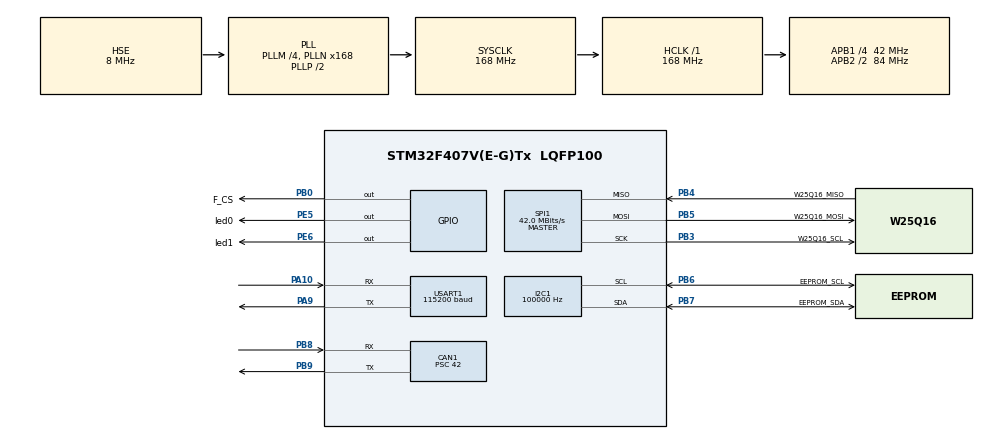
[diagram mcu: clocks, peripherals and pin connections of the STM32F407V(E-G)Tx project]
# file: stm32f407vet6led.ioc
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CAN1.ABOM=ENABLE
CAN1.AWUM=ENABLE
CAN1.BS1=CAN_BS1_2TQ
CAN1.BS2=CAN_BS2_2TQ
CAN1.CalculateBaudRate=200000
CAN1.CalculateTimeBit=5000
CAN1.CalculateTimeQuantum=1000.0
CAN1.Prescaler=42
I2C1.ClockSpeed=100000
I2C1.I2C_Mode=I2C_Standard
Mcu.Family=STM32F4
Mcu.Name=STM32F407V(E-G)Tx
Mcu.Package=LQFP100
NVIC.PriorityGroup=NVIC_PRIORITYGROUP_4
NVIC.USART1_IRQn=true\:5\:0\:true\:false\:true\:true\:true\:true
PA10.Mode=Asynchronous
PA10.Signal=USART1_RX
PA13.Mode=Serial_Wire
PA13.Signal=SYS_JTMS-SWDIO
PA14.Mode=Serial_Wire
PA14.Signal=SYS_JTCK-SWCLK
PA9.Mode=Asynchronous
PA9.Signal=USART1_TX
PB0.GPIO_Label=F_CS
PB0.GPIO_Speed=GPIO_SPEED_FREQ_VERY_HIGH
PB0.PinState=GPIO_PIN_SET
PB0.Signal=GPIO_Output
PB3.GPIO_Label=W25Q16_SCL
PB3.Mode=Full_Duplex_Master
PB3.Signal=SPI1_SCK
PB4.GPIO_Label=W25Q16_MISO
PB4.Mode=Full_Duplex_Master
PB4.Signal=SPI1_MISO
PB5.GPIO_Label=W25Q16_MOSI
PB5.Mode=Full_Duplex_Master
PB5.Signal=SPI1_MOSI
PB6.GPIO_Label=EEPROM_SCL
PB6.Mode=I2C
PB6.Signal=I2C1_SCL
PB7.GPIO_Label=EEPROM_SDA
PB7.Mode=I2C
PB7.Signal=I2C1_SDA
PB8.Mode=CAN_Activate
PB8.Signal=CAN1_RX
PB9.Mode=CAN_Activate
PB9.Signal=CAN1_TX
PC14-OSC32_IN.Mode=LSE-External-Oscillator
PC14-OSC32_IN.Signal=RCC_OSC32_IN
PC15-OSC32_OUT.Mode=LSE-External-Oscillator
PC15-OSC32_OUT.Signal=RCC_OSC32_OUT
PE5.GPIO_Label=led0
PE5.GPIO_PuPd=GPIO_PULLUP
PE5.PinState=GPIO_PIN_SET
PE5.Signal=GPIO_Output
PE6.GPIO_Label=led1
PE6.GPIO_PuPd=GPIO_PULLUP
PE6.PinState=GPIO_PIN_SET
PE6.Signal=GPIO_Output
PH0-OSC_IN.Mode=HSE-External-Oscillator
PH0-OSC_IN.Signal=RCC_OSC_IN
PH1-OSC_OUT.Mode=HSE-External-Oscillator
PH1-OSC_OUT.Signal=RCC_OSC_OUT
ProjectManager.HeapSize=0x200
ProjectManager.StackSize=0x400
ProjectManager.TargetToolchain=MDK-ARM V5.32
RCC.48MHZClocksFreq_Value=84000000
RCC.AHBFreq_Value=168000000
RCC.APB1CLKDivider=RCC_HCLK_DIV4
RCC.APB1Freq_Value=42000000
RCC.APB1TimFreq_Value=84000000
RCC.APB2CLKDivider=RCC_HCLK_DIV2
RCC.APB2Freq_Value=84000000
RCC.APB2TimFreq_Value=168000000
RCC.CortexFreq_Value=168000000
RCC.HCLKFreq_Value=168000000
RCC.HSE_VALUE=8000000
RCC.HSI_VALUE=16000000
RCC.PLLM=4
RCC.PLLN=168
RCC.PLLSourceVirtual=RCC_PLLSOURCE_HSE
RCC.SYSCLKFreq_VALUE=168000000
RCC.SYSCLKSource=RCC_SYSCLKSOURCE_PLLCLK
RCC.VCOOutputFreq_Value=336000000
SPI1.CalculateBaudRate=42.0 MBits/s
SPI1.Direction=SPI_DIRECTION_2LINES
SPI1.Mode=SPI_MODE_MASTER
SPI1.VirtualType=VM_MASTER
USART1.BaudRate=115200
USART1.VirtualMode=VM_ASYNC
VP_CRC_VS_CRC.Mode=CRC_Activate
board=custom

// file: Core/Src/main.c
/* USER CODE BEGIN Header */
/**
  ******************************************************************************
  * @file           : main.c
  * @brief          : Main program body
  ******************************************************************************
  * @attention
  *
  * Copyright (c) 2026 STMicroelectronics.
  * All rights reserved.
  *
  * This software is licensed under terms that can be found in the LICENSE file
  * in the root directory of this software component.
  * If no LICENSE file comes with this software, it is provided AS-IS.
  *
  ******************************************************************************
  */
/* USER CODE END Header */
#include "main.h"
#include "can.h"
#include "crc.h"
#include "i2c.h"
#include "spi.h"
#include "usart.h"
#include "gpio.h"

/* USER CODE BEGIN Includes */
#include "int_can.h"
#include "app_update.h"
/* USER CODE END Includes */

/* USER CODE BEGIN PD */
/* LED 硬件为低电平点亮：引脚输出 0 亮，输出 1 灭 */
#define LED0_ON()   HAL_GPIO_WritePin(led0_GPIO_Port, led0_Pin, GPIO_PIN_RESET)
#define LED0_OFF()  HAL_GPIO_WritePin(led0_GPIO_Port, led0_Pin, GPIO_PIN_SET)
#define LED1_ON()   HAL_GPIO_WritePin(led1_GPIO_Port, led1_Pin, GPIO_PIN_RESET)
#define LED1_OFF()  HAL_GPIO_WritePin(led1_GPIO_Port, led1_Pin, GPIO_PIN_SET)

/* USER CODE END PD */

void SystemClock_Config(void);

/* USER CODE BEGIN 0 */
/* APP 起始地址：与 Keil 工程 IROM1 起始地址保持一致（IAP 跳转后向量表重定向到这里） */
#define APP_START_ADDR  0x08008000U
/* USER CODE END 0 */

int main(void)
{

  /* USER CODE BEGIN 1 */
    uint8_t startup_message[] = "Waiting update command: cmd\r\n";

  __disable_irq();
  //重定向中断向量表
   SCB->VTOR = APP_START_ADDR;
   //开启中断
   __enable_irq();
  /* USER CODE END 1 */

  /* MCU Configuration--------------------------------------------------------*/

  /* Reset of all peripherals, Initializes the Flash interface and the Systick. */
  HAL_Init();

  /* Configure the system clock */
  SystemClock_Config();

  /* Initialize all configured peripherals */
  MX_GPIO_Init();
  MX_USART1_UART_Init();
  MX_CAN1_Init();
  MX_SPI1_Init();
  MX_CRC_Init();
    MX_I2C1_Init();
  /* USER CODE BEGIN 2 */
    int_can_init();
    HAL_UART_Transmit(&huart1, startup_message, sizeof(startup_message) - 1, 100);
    LED0_ON();
    LED1_OFF();
    app_update_init();
  /* USER CODE END 2 */

  /* Infinite loop */
  while (1)
  {

    /* USER CODE BEGIN 3 */
    app_update_work();
  }
  /* USER CODE END 3 */
}

void SystemClock_Config(void)
{
  RCC_OscInitTypeDef RCC_OscInitStruct = {0};
  RCC_ClkInitTypeDef RCC_ClkInitStruct = {0};

  /** Configure the main internal regulator output voltage
  */
  __HAL_RCC_PWR_CLK_ENABLE();
  __HAL_PWR_VOLTAGESCALING_CONFIG(PWR_REGULATOR_VOLTAGE_SCALE1);

  /** Initializes the RCC Oscillators according to the specified parameters
  * in the RCC_OscInitTypeDef structure.
  */
  RCC_OscInitStruct.OscillatorType = RCC_OSCILLATORTYPE_HSE;
  RCC_OscInitStruct.HSEState = RCC_HSE_ON;
  RCC_OscInitStruct.PLL.PLLState = RCC_PLL_ON;
  RCC_OscInitStruct.PLL.PLLSource = RCC_PLLSOURCE_HSE;
  RCC_OscInitStruct.PLL.PLLM = 4;
  RCC_OscInitStruct.PLL.PLLN = 168;
  RCC_OscInitStruct.PLL.PLLP = RCC_PLLP_DIV2;
  RCC_OscInitStruct.PLL.PLLQ = 4;
  if (HAL_RCC_OscConfig(&RCC_OscInitStruct) != HAL_OK)
  {
    Error_Handler();
  }

  /** Initializes the CPU, AHB and APB buses clocks
  */
  RCC_ClkInitStruct.ClockType = RCC_CLOCKTYPE_HCLK|RCC_CLOCKTYPE_SYSCLK
                              |RCC_CLOCKTYPE_PCLK1|RCC_CLOCKTYPE_PCLK2;
  RCC_ClkInitStruct.SYSCLKSource = RCC_SYSCLKSOURCE_PLLCLK;
  RCC_ClkInitStruct.AHBCLKDivider = RCC_SYSCLK_DIV1;
  RCC_ClkInitStruct.APB1CLKDivider = RCC_HCLK_DIV4;
  RCC_ClkInitStruct.APB2CLKDivider = RCC_HCLK_DIV2;

  if (HAL_RCC_ClockConfig(&RCC_ClkInitStruct, FLASH_LATENCY_5) != HAL_OK)
  {
    Error_Handler();
  }
}

void Error_Handler(void)
{
  __disable_irq();
  while (1)
  {
  }
}
